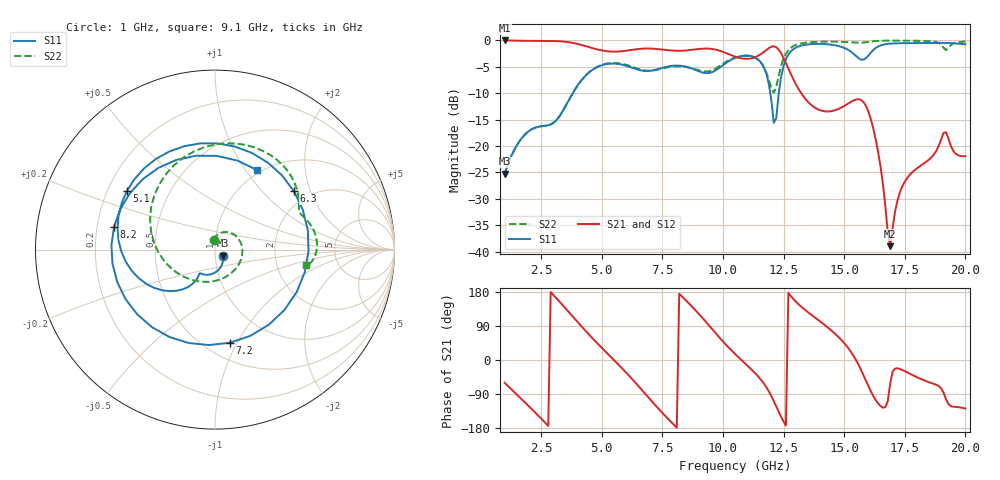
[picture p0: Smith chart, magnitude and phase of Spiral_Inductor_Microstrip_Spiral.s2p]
! Touchstone file exported from HFSS 3D Layout Design 2020.1.0
!  File:  *Path_to_file*
!  Generated:  11:17:10 AM  May 13, 2020
!  Design:  Spiral
!  Project:  Spiral_Inductor_Microstrip
!  Setup:  HFSS Setup
!  Solution:  Sweep 1
# GHZ S MA R 50.000000
! Terminal data exported
! Port[1] = Port1
! Port[2] = Port2
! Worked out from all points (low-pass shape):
!   191 points, 1 GHz to 20 GHz, reference per port
!   highest |S21| = -0.02 dB at 1 GHz (marker M1); lowest = -38.9 dB at 16.9 GHz (marker M2)
!   |S21| within 3 dB of the highest: start of sweep to 10.47 GHz; 11.41 GHz to 12.46 GHz (1.052 GHz wide, 8.81 % of centre)
!   lowest |S11| = -25.2 dB at 1 GHz (marker M3), VSWR 1.12
!   |S11| at or under -10 dB: start of sweep to 3.807 GHz; 11.95 GHz to 12.3 GHz (350 MHz wide, 2.89 % of centre)
!   |S22| runs from -25.3 to 0.0 dB; largest |S21 - S12| = 6.6e-13
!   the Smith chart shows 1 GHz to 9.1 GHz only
!   S11 on the Smith chart (normalised r, x): 1 GHz: 1.09, -0.07; 5.1 GHz: 0.28, +0.28; 6.3 GHz: 1.67, +1.55; 7.2 GHz: 0.65, -0.94; 8.2 GHz: 0.27, +0.10; 9.1 GHz: 0.96, +1.14
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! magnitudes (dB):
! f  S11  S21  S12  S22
! 1 GHz  -25.2  0.0  0.0  -25.3
! 1.7 GHz  -18.5  -0.1  -0.1  -18.6
! 3.1 GHz  -15.3  -0.1  -0.1  -15.3
! 4.2 GHz  -7.4  -0.9  -0.9  -7.4
! 5.1 GHz  -4.6  -2.0  -2.0  -4.5
! 6.3 GHz  -5.2  -1.8  -1.8  -5.1
! 7.2 GHz  -5.6  -1.6  -1.6  -5.6
! 7.4 GHz  -5.3  -1.7  -1.7  -5.4
! 8.2 GHz  -4.8  -2.0  -2.0  -4.9
! 9.1 GHz  -6.0  -1.6  -1.6  -5.8
! 10.5 GHz  -3.3  -3.1  -3.1  -3.3
! 11.6 GHz  -4.4  -2.5  -2.5  -4.4
! 11.9 GHz  -8.4  -1.5  -1.5  -7.5
! 12.1 GHz  -15.6  -1.1  -1.1  -9.9
! 12.6 GHz  -3.6  -4.3  -4.3  -2.5
! 13.7 GHz  -0.7  -12.4  -12.4  -0.3
! 15.9 GHz  -3.4  -12.4  -12.4  -0.4
! 16.4 GHz  -1.2  -21.1  -21.1  -0.1
! 16.9 GHz  -0.6  -38.9  -38.9  0.0
! 17.4 GHz  -0.5  -27.6  -27.6  -0.1
! 19.1 GHz  -0.5  -17.5  -17.5  -1.4
! 20 GHz  -0.7  -21.9  -21.9  -0.2
